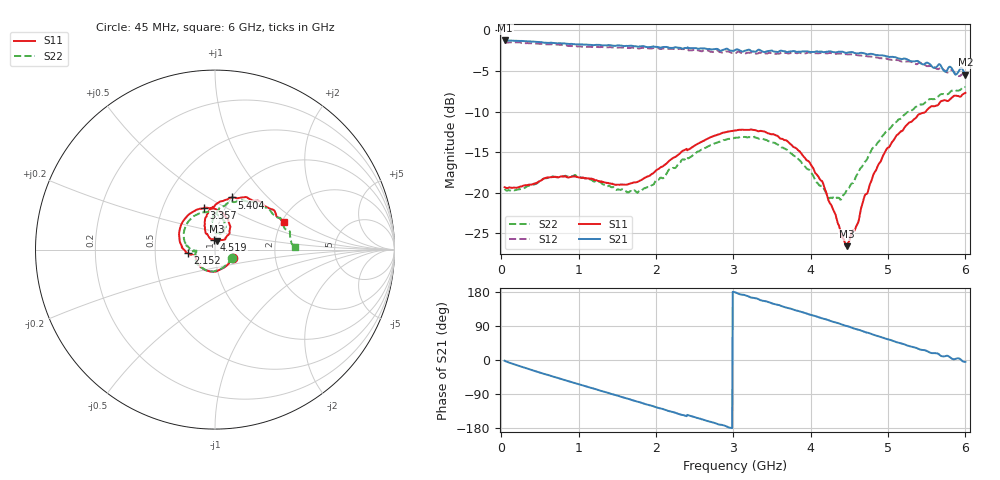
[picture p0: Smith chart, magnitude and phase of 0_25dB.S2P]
! C:\Users\Aljaz\OneDrive - Univerza v Ljubljani\DOKTORAT\NOVI SA\Slabilec PE43711B\meritve\prototip2\0_25dB.S2P
! Touchstone 1.1 file saved by VNA.EXE V1.65 (www.ke5fx.com/gpib/readme.htm)
! 18. 04. 2022 17:57:46
!  Source: HP8510C.07.14: Aug 26  1998
!  Min freq: 4.500000E+007 Hz
!  Max freq: 6.000000E+009 Hz
!  Points: 801
!  Params: S11 S21 S12 S22
# GHZ S DB R 50
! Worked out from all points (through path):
!   801 points, 45 MHz to 6 GHz, reference 50 ohm
!   highest |S21| = -1.26 dB at 52.44 MHz (marker M1); lowest = -5.5 dB at 6 GHz (marker M2)
!   group delay of S21, straight-line fit = 167 ps
!   lowest |S11| = -26.6 dB at 4.467 GHz (marker M3), VSWR 1.10, Z = 51 + j4.63 ohm
!   |S11| at or under -10 dB: start of sweep to 5.488 GHz
!   |S22| runs from -20.9 to -7.0 dB; largest |S21 - S12| = 0.059
!   S11 on the Smith chart (normalised r, x): 45 MHz: 1.21, -0.11; 2.152 GHz: 0.73, -0.03; 3.357 GHz: 0.80, +0.39; 4.519 GHz: 0.99, +0.11; 5.404 GHz: 1.00, +0.64; 6 GHz: 2.06, +0.75
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0.045  -19.32 -24.2  -1.26 -1.8  -1.54 -2.0  -19.52 -25.6
0.05244375  -19.34 -23.4  -1.26 -2.6  -1.53 -2.9  -19.61 -24.8
0.5214  -18.46 -83.9  -1.47 -34.5  -1.67 -34.5  -18.41 -90.2
1.042463  -18.12 -138.7  -1.77 -66.3  -2.03 -66.5  -18.16 -148.1
1.526306  -19.01 -161.8  -1.87 -95.5  -2.13 -95.2  -19.60 -174.7
1.779394  -18.58 -164.9  -2.01 -110.8  -2.25 -110.4  -19.81 -174.6
2.032481  -17.06 -168.6  -2.08 -126.5  -2.21 -126.1  -18.40 -175.9
2.151581  -16.25 -173.1  -2.08 -133.9  -2.26 -133.1  -17.42 179.4
2.657756  -13.39 159.0  -2.29 -160.6  -2.48 -160.6  -14.37 155.7
3.0225  -12.34 131.4  -2.44 178.8  -2.80 178.3  -13.23 128.8
3.357469  -12.38 104.8  -2.52 157.5  -2.77 158.2  -13.37 103.0
3.699881  -13.66 77.6  -2.69 137.7  -2.84 137.9  -14.73 78.8
4.019963  -16.78 55.0  -2.68 118.2  -2.80 118.1  -17.71 65.6
4.250719  -21.31 48.0  -2.59 103.5  -2.78 103.7  -20.61 71.7
4.466588  -26.57 74.7  -2.78 89.9  -2.95 89.4  -19.65 91.2
4.518694  -25.27 94.6  -2.68 86.4  -2.96 86.2  -18.99 97.4
4.809  -17.82 116.1  -2.94 67.0  -3.29 67.0  -14.45 92.5
5.009981  -14.43 104.3  -3.30 54.1  -3.60 54.6  -12.24 79.6
5.4045  -10.31 72.3  -3.92 28.2  -3.98 30.8  -9.18 49.5
5.709694  -8.66 46.2  -4.83 9.5  -4.79 10.8  -7.84 25.0
5.910675  -8.10 30.3  -5.11 4.4  -5.63 1.7  -7.44 7.0
6  -7.70 21.7  -5.47 -4.8  -5.61 -3.2  -6.99 1.6
